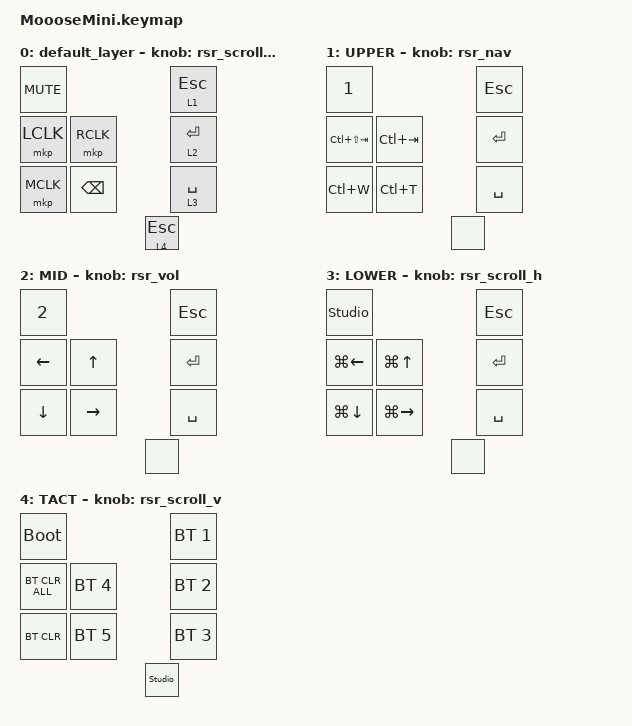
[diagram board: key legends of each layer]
#include <dt-bindings/zmk/mouse.h>
#include <behaviors/rgbled_widget.dtsi>
#include <zephyr/dt-bindings/input/input-event-codes.h>
#include <behaviors.dtsi>
#include <dt-bindings/zmk/bt.h>
#include <dt-bindings/zmk/keys.h>
#include <dt-bindings/zmk/pointing.h>
#include <behaviors/runtime-sensor-rotate.dtsi>

// Leyer

#define UPPER 1
#define MID 2
#define LOWER 3
#define TACT 4

// Japanese

#define JP_MINUS MINUS        // -
#define JP_CARET EQUAL        // ^
#define JP_YEN   INT3         // ¥
#define JP_AT    LBKT         // @
#define JP_LBKT  RBKT         // [
#define JP_EISU  CAPS         // Eisū (英数)
#define JP_SEMI  SEMI         // ;
#define JP_COLON SQT          // :
#define JP_RBKT  NUHS         // ]
#define JP_COMMA COMMA        // ,
#define JP_DOT   DOT          // .
#define JP_SLASH SLASH        // /
#define JP_MHEN  INT5         // Muhenkan (無変換)
#define JP_HENK  INT4         // Henkan (変換)
#define JP_EXCL  LS(N1)       // !
#define JP_DQT   LS(N2)       // "
#define JP_HASH  LS(N3)       // #
#define JP_DLLR  LS(N4)       // $
#define JP_PRCNT LS(N5)       // %
#define JP_AMPS  LS(N6)       // &
#define JP_SQT   LS(N7)       // '
#define JP_LPAR  LS(N8)       // (
#define JP_RPAR  LS(N9)       // )
#define JP_EQUAL LS(JP_MINUS) // =
#define JP_TILDE LS(JP_CARET) // ~
#define JP_PIPE  LS(JP_YEN)   // |
#define JP_GRAVE LS(JP_AT)    // `
#define JP_LBRC  LS(JP_LBKT)  // {
#define JP_CAPS  LS(JP_EISU)  // Caps Lock
#define JP_PLUS  LS(JP_SEMI)  // +
#define JP_ASTRK LS(JP_COLON) // *
#define JP_RBRC  LS(JP_RBKT)  // }
#define JP_LT    LS(JP_COMMA) // <
#define JP_RT    LS(JP_DOT)   // >
#define JP_QMARK LS(JP_SLASH) // ?
#define JP_UNDER LS(JP_BSLH)  // _

/ {
    macros {
        to_layer_0: to_layer_0 {
            compatible = "zmk,behavior-macro-one-param";
            #binding-cells = <1>;
            bindings = <&to 0 &macro_param_1to1 &kp MACRO_PLACEHOLDER>;
            label = "TO_LAYER_0";
        };
    };

    behaviors {
        lt_to_layer_0: lt_to_layer_0 {
            compatible = "zmk,behavior-hold-tap";
            label = "LAYER_TAP_TO_0";
            bindings = <&mo>, <&to_layer_0>;

            #binding-cells = <2>;
            tapping-term-ms = <200>;
        };

        rot_kp: sensor_rotate_kp {
            compatible = "zmk,behavior-sensor-rotate-var";
            #sensor-binding-cells = <2>;
            bindings = <&kp>, <&kp>;
        };

        rot_mkp: sensor_rotate_mkp {
            compatible = "zmk,behavior-sensor-rotate-var";
            #sensor-binding-cells = <2>;
            bindings = <&mkp>, <&mkp>;
        };

        mouse_scroll: mouse_wheel_scrl {
            compatible = "zmk,behavior-sensor-rotate-var";
            #sensor-binding-cells = <2>;
            bindings = <&msc>, <&msc>;

            tap-ms = <20>;
        };

        // Runtime Sensor Rotate Instances
        rsr_nav: rsr_nav {
            compatible = "zmk,behavior-runtime-sensor-rotate";
            #sensor-binding-cells = <0>;
            tap-ms = <20>;
            cw-binding = <&kp LC(TAB)>;
            ccw-binding = <&kp LC(LS(TAB))>;
        };
        rsr_vol: rsr_vol {
            compatible = "zmk,behavior-runtime-sensor-rotate";
            #sensor-binding-cells = <0>;
            tap-ms = <20>;
            cw-binding = <&kp C_VOL_UP>;
            ccw-binding = <&kp C_VOL_DN>;
        };
        rsr_scroll_h: rsr_scroll_h {
            compatible = "zmk,behavior-runtime-sensor-rotate";
            #sensor-binding-cells = <0>;
            tap-ms = <20>;
            cw-binding = <&msc SCRL_RIGHT>;
            ccw-binding = <&msc SCRL_LEFT>;
        };
        rsr_scroll_v: rsr_scroll_v {
            compatible = "zmk,behavior-runtime-sensor-rotate";
            #sensor-binding-cells = <0>;
            tap-ms = <20>;
            cw-binding = <&msc SCRL_UP>;
            ccw-binding = <&msc SCRL_DOWN>;
        };
    };

    keymap {
        compatible = "zmk,keymap";

        default_layer {
            bindings = <
&kp C_MUTE  &lt_to_layer_0 1 ESC  &mkp LCLK  &mkp RCLK  &lt_to_layer_0 2 ENTER  &mkp MCLK  &kp BACKSPACE  &lt_to_layer_0 3 SPACE  &lt_to_layer_0 4 ESC
            >;

            sensor-bindings = <&rsr_scroll_v>;
        };

        UPPER {
            bindings = <
&kp 1  &kp ESC  &kp LC(LS(TAB))  &kp LC(TAB)  &kp ENTER  &kp LC(W)  &kp LC(T)  &kp SPACE  &none
            >;

            sensor-bindings = <&rsr_nav>;
        };

        MID {
            bindings = <
&kp 2  &kp ESC  &kp LEFT  &kp UP  &kp ENTER  &kp DOWN  &kp RIGHT  &kp SPACE  &none
            >;

            sensor-bindings = <&rsr_vol>;
        };

        LOWER {
            bindings = <
&studio_unlock  &kp ESC  &kp LG(LEFT)  &kp LG(UP)  &kp ENTER  &kp LG(DOWN)  &kp LG(RIGHT)  &kp SPACE  &none
            >;

            sensor-bindings = <&rsr_scroll_h>;
        };

        TACT {
            bindings = <
&bootloader  &bt BT_SEL 1  &bt BT_CLR_ALL  &bt BT_SEL 4  &bt BT_SEL 2  &bt BT_CLR  &bt BT_SEL 5  &bt BT_SEL 3  &studio_unlock
            >;

            sensor-bindings = <&rsr_scroll_v>;
        };
    };
};
